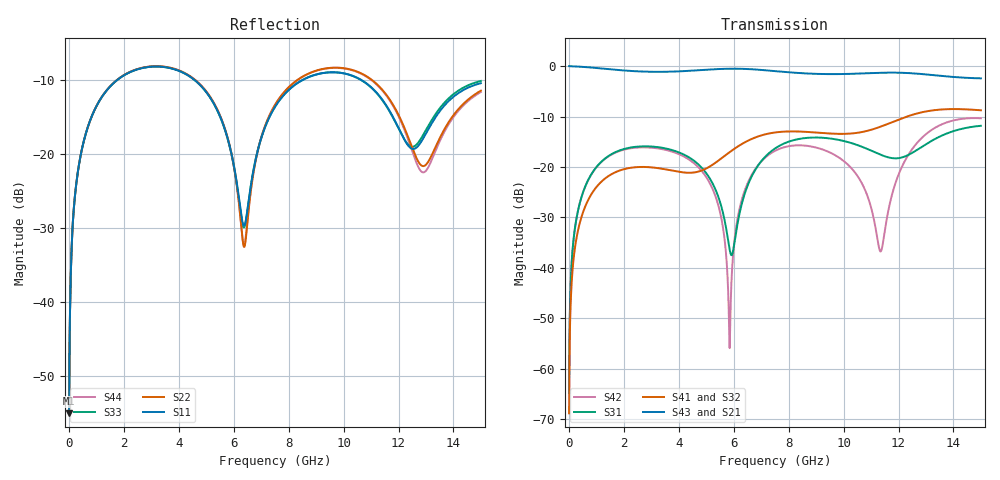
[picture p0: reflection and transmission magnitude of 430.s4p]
! Created with skrf 1.8.0 (http://scikit-rf.org).
# GHz S RI R 50.0
!freq ReS11 ImS11 ReS12 ImS12 ReS13 ImS13
! ReS14 ImS14
! ReS21 ImS21 ReS22 ImS22 ReS23 ImS23
! ReS24 ImS24
! ReS31 ImS31 ReS32 ImS32 ReS33 ImS33
! ReS34 ImS34
! ReS41 ImS41 ReS42 ImS42 ReS43 ImS43
! ReS44 ImS44
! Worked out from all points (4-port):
!   2499 points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, 5 MHz to 15 GHz, reference 50 ohm
!   strongest paths, dB at 5 MHz, 3.476 GHz, 7.19 GHz, 11.1 GHz, 15 GHz:
!     S43: 0.0, -1.1, -0.8, -1.4, -2.4
!     S21: 0.0, -1.1, -0.8, -1.4, -2.4
!     S41: -68.9, -20.4, -13.5, -12.5, -8.8
!     S32: -68.9, -20.5, -13.5, -12.5, -8.9
!     S31: -64.9, -16.3, -17.7, -17.0, -11.8
!     S42: -64.9, -16.6, -17.9, -30.3, -10.4
!   lowest |S11| = -55.0 dB at 5 MHz (marker M1), VSWR 1.00, Z = 50.1 + j0.107 ohm
!   |S11| at or under -10 dB: start of sweep to 1.741 GHz; 4.591 GHz to 8.488 GHz (3.898 GHz wide, 59.6 % of centre); 10.67 GHz to end of sweep
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0.005  0.00141 0.00107  0.9986 -0.00275  7.05e-05 0.000566  -6.84e-05 -0.000353
       0.9986 -0.00275  0.00141 0.00107  -6.84e-05 -0.000353  7.04e-05 0.000566
       7.05e-05 0.000566  -6.84e-05 -0.000353  0.00141 0.00107  0.9986 -0.00275
       -6.84e-05 -0.000353  7.04e-05 0.000566  0.9986 -0.00275  0.00141 0.00107
0.3126303  0.0186 0.0713  0.9746 -0.1718  0.00862 0.0341  -0.00703 -0.0212
           0.9746 -0.1718  0.0187 0.0713  -0.00703 -0.0212  0.00826 0.0342
           0.00862 0.0341  -0.00703 -0.0212  0.0186 0.0713  0.9746 -0.1718
           -0.00703 -0.0212  0.00826 0.0342  0.9746 -0.1718  0.0187 0.0713
1.569404  0.227 0.1903  0.6354 -0.6739  0.1154 0.0697  -0.083 -0.0199
          0.6354 -0.6739  0.2287 0.1895  -0.0829 -0.02  0.1103 0.0753
          0.1154 0.0697  -0.0829 -0.02  0.2271 0.1903  0.6354 -0.6739
          -0.083 -0.0199  0.1103 0.0753  0.6354 -0.6739  0.2285 0.1895
5.852439  0.0577 -0.0981  -0.8881 -0.3138  -0.0132 -0.00739  -0.0415 0.134
          -0.8881 -0.3138  0.049 -0.1034  -0.0434 0.1334  -0.00159 -9.79e-05
          -0.0132 -0.00739  -0.0434 0.1334  0.0566 -0.0971  -0.8883 -0.3137
          -0.0415 0.134  -0.00159 -9.79e-05  -0.8883 -0.3137  0.0491 -0.102
6.909129  0.065 0.0911  -0.8994 0.1968  0.0572 0.0886  0.0603 0.1924
          -0.8994 0.1968  0.0582 0.0955  0.0577 0.1931  0.0454 0.0957
          0.0572 0.0886  0.0577 0.1931  0.0646 0.0927  -0.8993 0.1967
          0.0603 0.1924  0.0454 0.0957  -0.8993 0.1967  0.059 0.0962
10.0917  0.3465 -0.049  0.0892 0.8304  0.0929 -0.1523  0.2002 -0.0731
         0.0892 0.8304  0.3724 -0.075  0.2009 -0.0686  0.104 -0.0338
         0.0929 -0.1523  0.2009 -0.0686  0.3462 -0.0469  0.0881 0.8311
         0.2002 -0.0731  0.104 -0.0338  0.0881 0.8311  0.3704 -0.0762
15  0.3001 0.0368  0.4831 -0.5828  0.2477 0.064  -0.3356 -0.1426
    0.4831 -0.5828  0.2628 0.0582  -0.3263 -0.1492  0.2988 0.0543
    0.2477 0.064  -0.3263 -0.1492  0.3112 0.0331  0.4853 -0.5798
    -0.3356 -0.1426  0.2988 0.0543  0.4853 -0.5798  0.2547 0.0682
